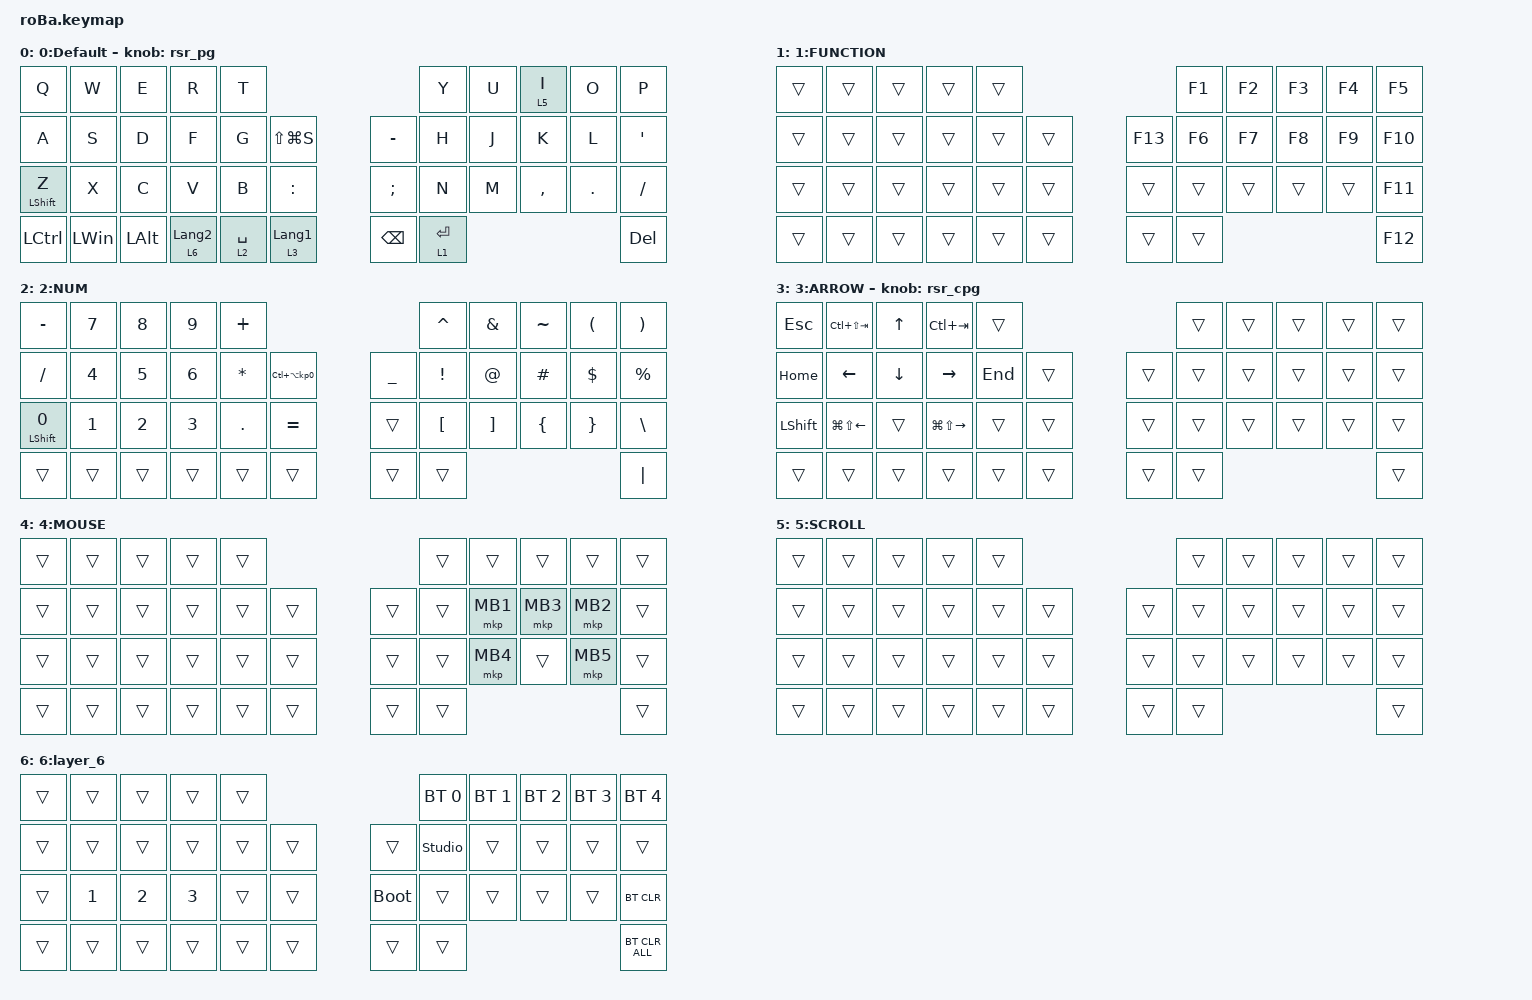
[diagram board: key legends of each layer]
#include <behaviors.dtsi>
#include <dt-bindings/zmk/bt.h>
#include <dt-bindings/zmk/keys.h>
#include <dt-bindings/zmk/pointing.h>
#include <behaviors/runtime-sensor-rotate.dtsi>

&mt {
    flavor = "balanced";
    quick-tap-ms = <0>;
};

/ {
    behaviors {
        // Optionally define default bindings
        rsr_pg: rsr_pg {
            compatible = "zmk,behavior-runtime-sensor-rotate";
            #sensor-binding-cells = <0>;
            tap-ms = <5>;
            cw-binding = <&kp PG_UP>;
            ccw-binding = <&kp PAGE_DOWN>;
        };
        rsr_cpg: rsr_cpg {
            compatible = "zmk,behavior-runtime-sensor-rotate";
            #sensor-binding-cells = <0>;
            tap-ms = <5>;
            cw-binding = <&kp LC(PG_UP)>;
            ccw-binding = <&kp LC(PAGE_DOWN)>;
        };
    };
};

/ {
    combos {
        compatible = "zmk,combos";

        tab {
            bindings = <&kp TAB>;
            key-positions = <11 12>;
        };

        shift_tab {
            bindings = <&kp LS(TAB)>;
            key-positions = <12 13>;
        };

        muhennkann {
            bindings = <&to_layer_0 INT_MUHENKAN>;
            key-positions = <11 10>;
        };

        double_quotation {
            bindings = <&kp DOUBLE_QUOTES>;
            key-positions = <20 21>;
        };

        eq {
            bindings = <&kp EQUAL>;
            key-positions = <24 25>;
        };
    };

    macros {
        to_layer_0: to_layer_0 {
            compatible = "zmk,behavior-macro-one-param";
            #binding-cells = <1>;
            bindings = <&to 0 &macro_param_1to1 &kp MACRO_PLACEHOLDER>;
            label = "TO_LAYER_0";
        };
    };

    behaviors {
        lt_to_layer_0: lt_to_layer_0 {
            compatible = "zmk,behavior-hold-tap";
            label = "LAYER_TAP_TO_0";
            bindings = <&mo>, <&to_layer_0>;

            #binding-cells = <2>;
            tapping-term-ms = <200>;
        };
    };

    keymap {
        compatible = "zmk,keymap";

        default_layer {
            label = "0:Default";
            bindings = <
&kp Q             &kp W         &kp E         &kp R                        &kp T                                                        &kp Y        &kp U  &lt 5 I    &kp O    &kp P
&kp A             &kp S         &kp D         &kp F                        &kp G        &kp LS(LG(S))                    &kp MINUS      &kp H        &kp J  &kp K      &kp L    &kp SQT
&mt LEFT_SHIFT Z  &kp X         &kp C         &kp V                        &kp B        &kp COLON                        &kp SEMICOLON  &kp N        &kp M  &kp COMMA  &kp DOT  &kp SLASH
&kp LCTRL         &kp LEFT_WIN  &kp LEFT_ALT  &lt_to_layer_0 6 LANGUAGE_2  &lt 2 SPACE  &lt_to_layer_0 3 LANGUAGE_1      &kp BACKSPACE  &lt 1 ENTER                             &kp DEL
            >;

            sensor-bindings = <&rsr_pg>;
        };

        FUNCTION {
            label = "1:FUNCTION";
            bindings = <
&trans  &trans  &trans  &trans  &trans                       &kp F1  &kp F2  &kp F3  &kp F4  &kp F5
&trans  &trans  &trans  &trans  &trans  &trans      &kp F13  &kp F6  &kp F7  &kp F8  &kp F9  &kp F10
&trans  &trans  &trans  &trans  &trans  &trans      &trans   &trans  &trans  &trans  &trans  &kp F11
&trans  &trans  &trans  &trans  &trans  &trans      &trans   &trans                          &kp F12
            >;
        };

        NUM {
            label = "2:NUM";
            bindings = <
&kp MINUS                &kp NUMBER_7  &kp NUMBER_8  &kp NUMBER_9  &kp PLUS                                                   &kp CARET         &kp AMPERSAND      &kp TILDE       &kp LEFT_PARENTHESIS  &kp RIGHT_PARENTHESIS
&kp SLASH                &kp NUMBER_4  &kp NUMBER_5  &kp NUMBER_6  &kp ASTERISK  &kp LC(LA(KP_NUMBER_0))      &kp UNDERSCORE  &kp EXCLAMATION   &kp AT_SIGN        &kp HASH        &kp DOLLAR            &kp PERCENT
&mt LEFT_SHIFT NUMBER_0  &kp NUMBER_1  &kp NUMBER_2  &kp NUMBER_3  &kp PERIOD    &kp EQUAL                    &trans          &kp LEFT_BRACKET  &kp RIGHT_BRACKET  &kp LEFT_BRACE  &kp RIGHT_BRACE       &kp BACKSLASH
&trans                   &trans        &trans        &trans        &trans        &trans                       &trans          &trans                                                                     &kp PIPE
            >;
        };

        ARROW {
            label = "3:ARROW";
            bindings = <
&kp ESCAPE      &kp LC(LS(TAB))         &kp UP_ARROW    &kp LC(TAB)              &trans                       &trans  &trans  &trans  &trans  &trans
&kp HOME        &kp LEFT_ARROW          &kp DOWN_ARROW  &kp RIGHT_ARROW          &kp END  &trans      &trans  &trans  &trans  &trans  &trans  &trans
&kp LEFT_SHIFT  &kp LG(LS(LEFT_ARROW))  &trans          &kp LG(LS(RIGHT_ARROW))  &trans   &trans      &trans  &trans  &trans  &trans  &trans  &trans
&trans          &trans                  &trans          &trans                   &trans   &trans      &trans  &trans                          &trans
            >;

            sensor-bindings = <&rsr_cpg>;
        };

        MOUSE {
            label = "4:MOUSE";
            bindings = <
&trans  &trans  &trans  &trans  &trans                      &trans  &trans    &trans    &trans    &trans
&trans  &trans  &trans  &trans  &trans  &trans      &trans  &trans  &mkp MB1  &mkp MB3  &mkp MB2  &trans
&trans  &trans  &trans  &trans  &trans  &trans      &trans  &trans  &mkp MB4  &trans    &mkp MB5  &trans
&trans  &trans  &trans  &trans  &trans  &trans      &trans  &trans                                &trans
            >;
        };

        SCROLL {
            label = "5:SCROLL";
            bindings = <
&trans  &trans  &trans  &trans  &trans                      &trans  &trans  &trans  &trans  &trans
&trans  &trans  &trans  &trans  &trans  &trans      &trans  &trans  &trans  &trans  &trans  &trans
&trans  &trans  &trans  &trans  &trans  &trans      &trans  &trans  &trans  &trans  &trans  &trans
&trans  &trans  &trans  &trans  &trans  &trans      &trans  &trans                          &trans
            >;
        };

        layer_6 {
            label = "6:layer_6";
            bindings = <
&trans  &trans        &trans        &trans        &trans                           &bt BT_SEL 0   &bt BT_SEL 1  &bt BT_SEL 2  &bt BT_SEL 3  &bt BT_SEL 4
&trans  &trans        &trans        &trans        &trans  &trans      &trans       &studio_unlock &trans        &trans        &trans        &trans
&trans  &kp NUMBER_1  &kp NUMBER_2  &kp NUMBER_3  &trans  &trans      &bootloader  &trans         &trans        &trans        &trans        &bt BT_CLR
&trans  &trans        &trans        &trans        &trans  &trans      &trans       &trans                                                  &bt BT_CLR_ALL
            >;
        };
    };
};
